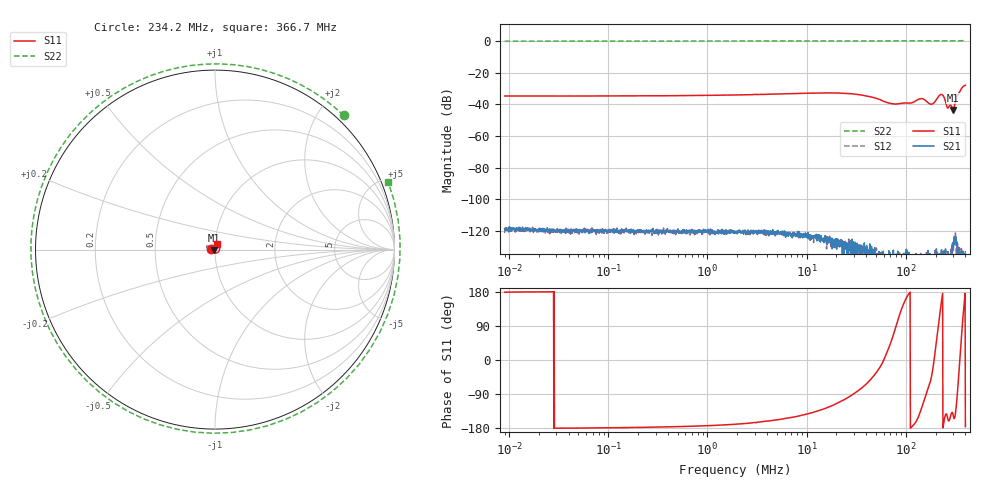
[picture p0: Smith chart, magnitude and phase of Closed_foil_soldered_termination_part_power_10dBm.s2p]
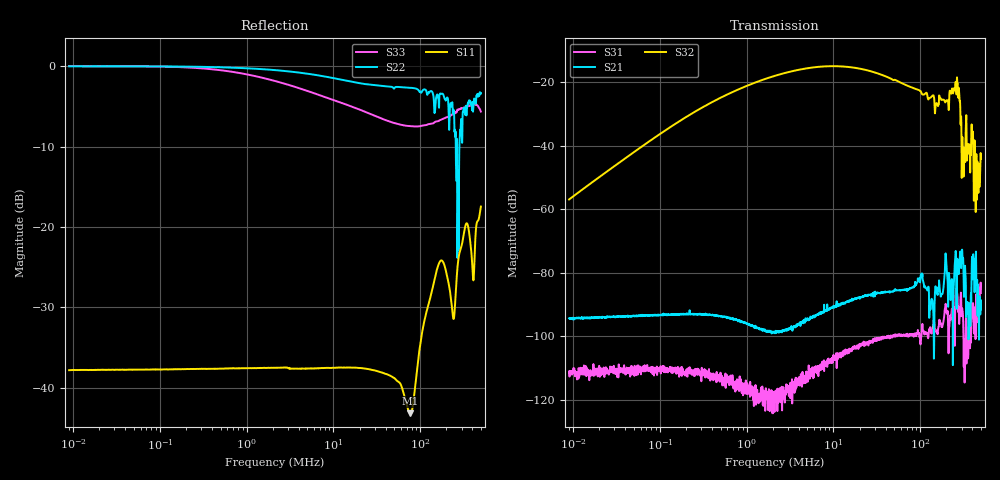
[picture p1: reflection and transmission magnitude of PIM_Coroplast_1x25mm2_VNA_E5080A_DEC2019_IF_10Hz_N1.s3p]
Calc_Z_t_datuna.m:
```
clear all
close all

flag = 1;   % (1) Triaxial Tube Method   (TTM) for COROPLAST FHLRG2GCB2G 1x25mm2 cable
% (2) Probe Injection Method (PIM) for COROPLAST FHLRG2GCB2G 1x25mm2 cable
% (3) Line Injection Method  (LIM) for COROPLAST FHLRG2GCB2G 1x25mm2 cable

%% datvla exelis cxrilidan
R1    = 11
R2    = 50 % iyo 50 load of the injection circuit
% Rs    = 50*sqrt(1-(R1/50))
% Rp    = R1/(sqrt(1-(R1/50)))

Rs    = 120
Rp    = 60

Km    = (2*sqrt(R2/R1))/(1+(Rs+R2)*(Rp+R1)/(Rp*R1)) % datvla eqselis cxrilidan migebuli formulit
loss  = Km
%%


% COROPLAST FHLRG2GCB2G 1x25mm2 cable data

ZC = 12.3; % ar gamoiyeneba
% loss = 0.27; % <<< LOSSS chawere aq (kalkulatorit daitvale exselshi)
%% kley
d=0.185e-3;    % filament diameter
n=7;    %  number of filaments in each carrier
C=24;   %  number of carriers

D0 = 7.65e-3;  % diameter of core including conductor and insulation

wave_angle_deg = 30;

sigma_copper = 50e6;   % conductivity of the shield filaments
sigma_tin = 50e6;   % conductivity of the shield filaments

automatic_opt_cover = 1;
if  automatic_opt_cover == 0
    K_opt_cover = 0.983;
end
%%
switch flag
    case 1 % Triaxial Tube Method (TTM)for COROPLAST FHLRG2GCB2G 1x25mm2 cable
        file_1 =  'Closed_foil_soldered_termination_part_power_10dBm.s2p';
        data_T1 = read(rfdata.data,file_1);
        Freq                 = data_T1.freq;
        
        S_matrix_T1=extract(data_T1,'S-PARAMETERS');
        S21_T1 = S_matrix_T1(2,1,:);
        
        a_meas_1 = S21_T1(:);
        
        Lc_TTM=0.306; %  in m (sigrdze)
        
        R1N=39;    %inner circuit
        R1F=147;  %inner circuit for connector datuna 
        
        R2N=50;   %outer circuit
        R2F=0;    %outer circuit
        
        %km=ZC/(R1N+ZC);
        
        
        %Z_t_1 = ((R1F+ZC)*a_meas_1)/(2*Lc*km);   % see Mushtaq & Frei "Analysis of Shielding Effectiveness of HV Cable and Connector Systems used for Electric Vehicles"
        
        Zt_TTM_VNA_E5080A = ((R1F+R2N)*a_meas_1)/(2*Lc_TTM*loss);
        
        %Z_t_1 = (R1F*(R1F+50)*a_meas_1)/(sqrt(ZC*50)*Lc*km);
        
    case 2 % Probe Injection Method (PIM) for COROPLAST FHLRG2GCB2G 1x25mm2 cable
        
        Lc_PIM=0.48; %  in m
        
        Data_file_PIM = read(rfdata.data,'PIM_Coroplast_1x25mm2_VNA_E5080A_DEC2019_IF_10Hz_N1.s3p');
        
        f_52         = load('F52_transfer_imp.dat');    % Transfer impedance of FCC F52 current probe from data sheet; MAG in dB
        f_52_impedance = f_52(:,2);
        
        Freq=Data_file_PIM.freq;
        S_matrix_data=extract(Data_file_PIM,'S-PARAMETERS');
        
        f_52_meas_VNA_E5080A  = interp1(f_52(:,1),f_52_impedance,Freq,'linear');
        
        for k=1:length(Freq)
            F140_TO_CABLE_VNA_E5080A(k) = S_matrix_data(2,1,k);
            F140_TO_F52_VNA_E5080A(k)   = S_matrix_data(3,2,k);
            
            Zt_PIM_VNA_E5080A(k,1) = (2/(Lc_PIM*loss)).*(F140_TO_CABLE_VNA_E5080A(k)./(F140_TO_F52_VNA_E5080A(k))).*10.^(f_52_meas_VNA_E5080A(k)/20);
        end
        
    case 3 % Line Injection Method (LIM) for COROPLAST FHLRG2GCB2G 1x25mm2 cable
        
        Data_file_LIM = read(rfdata.data,'LIM_Coroplast_FHLR2GCB2G_1x25mm2_VNA_E5080A_DEC2019_IF_10Hz.s3p');
        
        Lc_LIM=0.445; % coupling length for LIM in m
        
        Freq=Data_file_LIM.freq;
        S_matrix_data=extract(Data_file_LIM,'S-PARAMETERS');
        
        for k=1:length(Freq)
            a_meas_5(k) = S_matrix_data(1,2,k);
            a_meas_6(k) = S_matrix_data(1,3,k);
        end
        
        
        R2N=50;
        R2F=50;
        
        Zt_LIM_near_VNA_E5080A     = ((2*R2N)/(Lc_LIM*loss))*(a_meas_5);
        Zt_LIM_far_VNA_E5080A      = ((2*R2N)/(Lc_LIM*loss))*(a_meas_6);
        
end


%======== Shield parameters for modeling =======

P=10/31e-3;   % number of carrier crossings per unit length (the picks)

Dm = D0+2*d;  % mean diameter a of the shield
b_shield = Dm/2;    %mean radius a of the shield

mu_0 = 4*pi*1e-7;          % permeability of free space
%sigma_copper = 57600000;   % conductivity of the shield filaments



d_foil = 0.015e-3;
sigma_foil = 2.5e6;
psi_foil = 45*pi/180;
M_foil = 1;
w_foil = 0;
a_foil = Dm/2+d;
b_foil =a_foil+a_foil/10;

%S=Levy(Freq,sigma_foil,d_foil);


wave_angle_rad = deg2rad(wave_angle_deg);

dR = (0.67*d)/sqrt(cos(wave_angle_rad));

b=((2*pi*Dm)/C)-((n*d)/cos(wave_angle_rad));

%=========== Calculations ================

del = sqrt(2./(2*pi*Freq*mu_0*sigma_tin));


R_shield = (4/(pi*d^2*n*C*sigma_copper*cos(wave_angle_rad)));

gamma = sqrt(j*2*pi*Freq*mu_0*sigma_copper);
Zd = R_shield*(gamma*dR./sinh(gamma*dR));

ZR = R_shield*(d*(1+j)./del)./sinh(d*(1+j)./del);

e = sqrt(1-tan(wave_angle_rad)^2);


[K, E] = ellipke(e);

F = n*d*C/(4*pi*b_shield*cos(wave_angle_rad));
F0 = F*cos(wave_angle_rad);

if automatic_opt_cover == 1
    K_opt_cover = 2*F-F^2
else
    K_opt_cover
end

M = (pi*mu_0/(6*C))*((1-K_opt_cover)^(3/2))*(e^2/(E-(1-e^2)*K));

Z_t_model_Vance = Zd + j*2*pi*Freq*M;

w=2*pi*Dm*(cos(wave_angle_rad)-n*d)/C;
h1 = 2*d/(1+w/d);
Lp= (mu_0*h1/(4*pi*Dm))*(1-tan(wave_angle_rad)^2);

Z_t_model_Tyni = Z_t_model_Vance - j*2*pi*Freq*Lp;

k_cable = (-1.16/(C*n*d))*atan(n/3)*sin(pi/2-2*wave_angle_rad)*sqrt(mu_0/sigma_copper);

Z_t_model_Demoulin = Z_t_model_Tyni + k_cable*sqrt(2*pi*Freq)*exp(j*pi/4);

% =================== Start Kley model =========================

tau_H = 9.6*F*(K_opt_cover^2*d/Dm)^(1/3);

Ma = 0.875*M*exp(-tau_H);

k1 = pi/(4*(2*F0/3+pi/10));
Lb = -0.11*mu_0*d*cos(2*k1*wave_angle_rad)/(2*pi*Dm*F0);

Lt = Ma+Lb;

tau_E = 12*F*(K_opt_cover^2*d/Dm)^(1/3);
Da = 10*pi*F0^2*cos(wave_angle_rad)*(1-F)*exp(-tau_E)/Dm;

k2 = pi/(4*(2*F0/3+3/8));
Db = -3.3*cos(2*k2*wave_angle_rad)/(2*pi*Dm*F0);

w_Ls = (1./(pi*sigma_tin*del)).*(Da+Db);

Z_t_model_Kley = ZR+w_Ls+(j*2*pi*Freq*Lt+j*w_Ls);

% =================== End Kley model =========================


% =================== Start Kley model + foil =========================

%Z_t_model_Kley_foil = ZR+w_Ls+(j*2*pi*Freq*Lt+j*w_Ls)./S;

% =================== End Kley model + foil =========================


disp(['L_T = ' num2str(1e9*Lt(1)) ' nH'])
disp(['M_a = ' num2str(1e9*Ma(1)) ' nH'])
disp(['L_b = ' num2str(1e9*Lb(1)) ' nH'])
disp(['L_s = ' num2str(1e9*w_Ls(1)/(2*pi*Freq(1))) ' nH'])


switch flag
    case 1
        fig = figure(3);
        hold on
        set(gca,'fontsize',14,'Xscale','log','Yscale','log')
        set(fig,'position',[360   200   758   500])
        plot(Freq,(abs(Zt_TTM_VNA_E5080A)),'k','linewidth',2)
%         plot(Freq,abs(Z_t_model_Kley),'m-','linewidth',2) % tu dagchirda
        %plot(f,abs(2*pi*f*Lt),'k','linewidth',2)
        %plot(f,abs(w_Ls),'c','linewidth',2)
        %plot(f,abs(Z_t_model_Kley_foil),'m','linewidth',2)
        grid on
        box on
        legend('Measurement','Kley Model')
        xlabel('Frequency')
        ylabel('Magnitude of transfer impedance [\Omega/m]')
        set(gca,'XTick',[100 1e3 1e4 1e5 1e6 10e6 100e6 500e6]);
        set(gca,'XTickLabel',['100Hz ';'1kHz  ';'10kHz ';'100kHz';'1MHz  ';'10MHz ';'100MHz';'500MHz'])
        set(gca,'YTick',[1e-3 1e-2 1e-1 1e-0 1e1 1e2]);
        set(gca,'YTickLabel',['1m  ';'10m ';'100m';'1   ';'10  ';'100 '])
%         ylim([0.5e-3 0.53])
        xlim([9e3 500e6])
        title('Triaxial Tube Method (TTM) for con')
    case 2
        fig = figure(3);
        hold on
        set(gca,'fontsize',14,'Xscale','log','Yscale','log')
        set(fig,'position',[360   200   758   500])
        plot(Freq,(abs(Zt_PIM_VNA_E5080A)),'b','linewidth',2)
        plot(Freq,abs(Z_t_model_Kley),'m-','linewidth',2)
        %plot(f,abs(2*pi*f*Lt),'k','linewidth',2)
        %plot(f,abs(w_Ls),'c','linewidth',2)
        %plot(f,abs(Z_t_model_Kley_foil),'m','linewidth',2)
        grid on
        box on
        legend('Measurement','Kley Model')
        xlabel('Frequency')
        ylabel('Magnitude of transfer impedance [\Omega/m]')
        set(gca,'XTick',[100 1e3 1e4 1e5 1e6 10e6 100e6 500e6]);
        set(gca,'XTickLabel',['100Hz ';'1kHz  ';'10kHz ';'100kHz';'1MHz  ';'10MHz ';'100MHz';'500MHz'])
        set(gca,'YTick',[1e-3 1e-2 1e-1 1e-0 1e1 1e2]);
        set(gca,'YTickLabel',['1m  ';'10m ';'100m';'1   ';'10  ';'100 '])
        ylim([0.5e-3 0.53])
        xlim([9e3 500e6])
        title('Probe Injection Method (PIM) for COROPLAST FHLRG2GCB2G 1x25mm2 cable')
    case 3
        fig = figure(3);
        hold on
        set(gca,'fontsize',14,'Xscale','log','Yscale','log')
        set(fig,'position',[360   200   758   500])
        plot(Freq,(abs(Zt_LIM_near_VNA_E5080A)),'g','linewidth',2)
        plot(Freq,abs(Z_t_model_Kley),'m-','linewidth',2)
        %plot(f,abs(2*pi*f*Lt),'k','linewidth',2)
        %plot(f,abs(w_Ls),'c','linewidth',2)
        %plot(f,abs(Z_t_model_Kley_foil),'m','linewidth',2)
        grid on
        box on
        legend('Measurement','Kley Model')
        xlabel('Frequency')
        ylabel('Magnitude of transfer impedance [\Omega/m]')
        set(gca,'XTick',[100 1e3 1e4 1e5 1e6 10e6 100e6 500e6]);
        set(gca,'XTickLabel',['100Hz ';'1kHz  ';'10kHz ';'100kHz';'1MHz  ';'10MHz ';'100MHz';'500MHz'])
        set(gca,'YTick',[1e-3 1e-2 1e-1 1e-0 1e1 1e2]);
        set(gca,'YTickLabel',['1m  ';'10m ';'100m';'1   ';'10  ';'100 '])
        ylim([0.5e-3 0.53])
        xlim([9e3 500e6])
        title('Line Injection Method (LIM) for COROPLAST FHLRG2GCB2G 1x25mm2 cable')
end

% switch flag
%     case 1
%         fig = figure(4);
%         hold on
%         set(gca,'fontsize',14,'Xscale','log')
%         set(fig,'position',[86.2000 550 950.4000 441.6000])
%         plot(Freq,(real(Zt_TTM_VNA_E5080A)),'b','linewidth',2)
%         plot(Freq,(imag(Zt_TTM_VNA_E5080A)),'r','linewidth',2)
%         plot(Freq,real(Z_t_model_Kley),'c','linewidth',2)
%         plot(Freq,(imag(Z_t_model_Kley)),'m','linewidth',2)
%         grid on
%         box on
%         legend('Real MEAS','Imag MEAS','Real KLEY','Imag KLEY')
%         xlabel('Frequency [Hz]')
%         ylabel('Z_T_R \Omega/m')
%         set(gca,'XTick',[1e4 1e5 1e6 10e6 100e6 1e9]);
%         set(gca,'XTickLabel',['10k ';'100k';'1M  ';'10M ';'100M';'1G  '])
%         %set(gca,'YTick',[1e-3 1e-2 1e-1 1e-0 1e1 1e2]);
%         %set(gca,'YTickLabel',['1m  ';'10m ';'100m';'1   ';'10  ';'100 '])
%         ylim([-0.04 0.04])
%         xlim([5e3 500e6])
%         title('Triaxial Tube Method (TTM) for COROPLAST FHLRG2GCB2G 1x25mm2 cable')
%     case 2
%         fig = figure(4);
%         hold on
%         set(gca,'fontsize',14,'Xscale','log')
%         set(fig,'position',[86.2000 550 950.4000 441.6000])
%         plot(Freq,(real(Zt_PIM_VNA_E5080A)),'b','linewidth',2)
%         plot(Freq,(imag(Zt_PIM_VNA_E5080A)),'r','linewidth',2)
%         plot(Freq,real(Z_t_model_Kley),'c','linewidth',2)
%         plot(Freq,(imag(Z_t_model_Kley)),'m','linewidth',2)
%         grid on
%         box on
%         legend('Real MEAS','Imag MEAS','Real KLEY','Imag KLEY')
%         xlabel('Frequency [Hz]')
%         ylabel('Z_T_R \Omega/m')
%         set(gca,'XTick',[1e4 1e5 1e6 10e6 100e6 1e9]);
%         set(gca,'XTickLabel',['10k ';'100k';'1M  ';'10M ';'100M';'1G  '])
%         %set(gca,'YTick',[1e-3 1e-2 1e-1 1e-0 1e1 1e2]);
%         %set(gca,'YTickLabel',['1m  ';'10m ';'100m';'1   ';'10  ';'100 '])
%         ylim([-0.04 0.04])
%         xlim([5e3 500e6])
%         title('Probe Injection Method (PIM) for COROPLAST FHLRG2GCB2G 1x25mm2 cable')
%     case 3
%         fig = figure(4);
%         hold on
%         set(gca,'fontsize',14,'Xscale','log')
%         set(fig,'position',[86.2000 550 950.4000 441.6000])
%         plot(Freq,(real(Zt_LIM_far_VNA_E5080A)),'b','linewidth',2)
%         plot(Freq,(imag(Zt_LIM_far_VNA_E5080A)),'r','linewidth',2)
%         plot(Freq,real(Z_t_model_Kley),'c','linewidth',2)
%         plot(Freq,(imag(Z_t_model_Kley)),'m','linewidth',2)
%         grid on
%         box on
%         legend('Real MEAS','Imag MEAS','Real KLEY','Imag KLEY')
%         xlabel('Frequency [Hz]')
%         ylabel('Z_T_R \Omega/m')
%         set(gca,'XTick',[1e4 1e5 1e6 10e6 100e6 1e9]);
%         set(gca,'XTickLabel',['10k ';'100k';'1M  ';'10M ';'100M';'1G  '])
%         %set(gca,'YTick',[1e-3 1e-2 1e-1 1e-0 1e1 1e2]);
%         %set(gca,'YTickLabel',['1m  ';'10m ';'100m';'1   ';'10  ';'100 '])
%         ylim([-0.04 0.04])
%         xlim([5e3 500e6])
%         title('Line Injection Method (LIM) for COROPLAST FHLRG2GCB2G 1x25mm2 cable')
% end


% for_save_meas = [Freq_PIM real(Zt_PIM_VNA_E5080A) imag(Zt_PIM_VNA_E5080A)];
% for_save_sim = [Freq_PIM real(Z_t_model_Kley) imag(Z_t_model_Kley)];
%
%
% switch flag
%     case 1
%         save SIM_ZT_COROPLAST_1x25mm2.s1p  for_save_sim  -ascii
%     case 2
%         save SIM_ZT_COROPLAST_1x50mm2.s1p  for_save_sim  -ascii
%     case 3
%         save SIM_ZT_COROPLAST_1x70mm2.s1p  for_save_sim  -ascii
%     case 4
%         save ZT_COROPLAST_2x6mm2.s1p  for_save_meas  -ascii
%     case 5
%         save ZT_COROPLAST_4x6mm2.s1p  for_save_meas  -ascii
%     case 6
%         save ZT_ACOME_4x6mm2.s1p  for_save_meas  -ascii
% end
```
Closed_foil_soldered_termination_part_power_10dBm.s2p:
!Keysight Technologies,E5080A,MY55201161,A.12.60.03
!Date: Monday, January 06, 2020 21:17:27
!Correction: S11(Full 2 Port(1,2))
!S21(Full 2 Port(1,2))
!S12(Full 2 Port(1,2))
!S22(Full 2 Port(1,2))
!S2P File: Measurements: S11, S21, S12, S22:Log Frequency Sweep
# Hz S  dB  R 50
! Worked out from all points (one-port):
!   1601 points, 9 kHz to 400 MHz, reference 50 ohm
!   lowest |S11| = -43.4 dB at 300 MHz (marker M1), VSWR 1.01, Z = 49.5 - j0.393 ohm
!   |S11| at or under -10 dB: start of sweep to end of sweep
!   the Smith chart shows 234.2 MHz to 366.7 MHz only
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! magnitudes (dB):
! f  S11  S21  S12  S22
! 9 kHz  -34.6  -118.4  -121.1  0.0
! 1.91 MHz  -34.0  -121.1  -121.0  0.1
! 25.09 MHz  -33.0  -131.4  -129.3  0.2
! 78.21 MHz  -39.8  -134.5  -139.1  0.2
! 143.8 MHz  -36.3  -139.1  -142.8  0.3
! 182.9 MHz  -39.8  -146.1  -146.9  0.3
! 228.1 MHz  -33.6  -140.2  -134.4  0.3
! 264.2 MHz  -42.2  -139.8  -135.3  0.3
! 300 MHz  -43.4  -127.5  -133.4  0.2
! 349.9 MHz  -32.0  -146.6  -154.6  0.2
! 400 MHz  -27.9  -140.9  -131.4  0.5
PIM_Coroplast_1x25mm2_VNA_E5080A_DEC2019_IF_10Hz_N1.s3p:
!Keysight Technologies,E5080A,MY55201161,A.12.60.03
!Date: Thursday, December 19, 2019 20:41:26
!Correction: S11(Full 3 Port(1,2,3))
!S12(Full 3 Port(1,2,3))
!S13(Full 3 Port(1,2,3))
!S21(Full 3 Port(1,2,3))
!S22(Full 3 Port(1,2,3))
!S23(Full 3 Port(1,2,3))
!S31(Full 3 Port(1,2,3))
!S32(Full 3 Port(1,2,3))
!S33(Full 3 Port(1,2,3))
!S3P File: Measurements: <S11,S12,S13>,
!<S21,S22,S23>,
!<S31,S32,S33>:Log Frequency Sweep
# Hz S  dB  R 50
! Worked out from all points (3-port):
!   2000 points, 9 kHz to 500 MHz, reference 50 ohm
!   strongest paths, dB at 9 kHz, 138.4 kHz, 2.127 MHz, 32.7 MHz, 500 MHz:
!     S32: -56.8, -33.7, -17.9, -17.2, -44.1
!     S21: -94.3, -93.1, -99.0, -86.3, -91.5
!     S31: -111.4, -111.0, -119.0, -101.0, -86.3
!   lowest |S11| = -43.2 dB at 77.13 MHz (marker M1), VSWR 1.01, Z = 50.5 + j0.508 ohm
!   |S11| at or under -10 dB: start of sweep to end of sweep
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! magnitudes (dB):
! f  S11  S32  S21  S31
! 9 kHz  -37.8  -56.8  -94.3  -111.4
! 1.766 MHz  -37.5  -18.6  -98.4  -118.8
! 77.13 MHz  -43.2  -21.4  -84.8  -99.5
! 265.2 MHz  -25.8  -18.4  -78.3  -86.1
! 500 MHz  -17.5  -44.1  -91.5  -86.3
